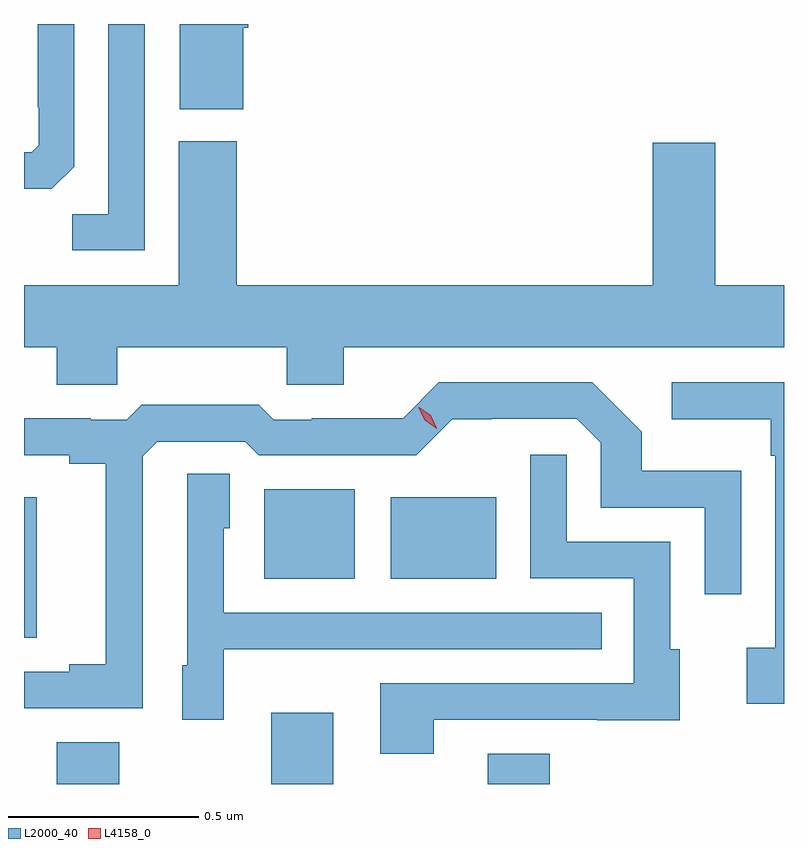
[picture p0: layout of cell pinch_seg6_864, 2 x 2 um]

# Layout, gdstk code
import gdstk
lib = gdstk.Library(unit=1e-6, precision=1e-09)
def R(c, l, rs):  # rectangles x0, y0, x1, y1
    for r in rs: c.add(gdstk.rectangle(r[:2], r[2:], *l))
def P(c, l, *ps):  # polygons
    for p in ps: c.add(gdstk.Polygon(p, *l))
L2000_40 = (2000, 40)
L4158_0 = (4158, 0)

pinch_seg6_864 = lib.new_cell('pinch_seg6_864')
R(pinch_seg6_864, L2000_40, [(139.463,979.487,139.627,979.597), (140.027,979.487,140.191,979.675), (140.597,979.487,140.761,979.567), (139.377,979.872,139.411,980.242), (140.009,980.027,140.248,980.263), (140.342,980.027,140.62,980.242)])
P(pinch_seg6_864, L2000_40, [(139.954,981.477),(139.967,981.477),(139.967,981.487),(139.787,981.487),(139.787,981.263),(139.954,981.263)],
  [(139.695,981.487),(139.599,981.487),(139.599,980.987),(139.504,980.987),(139.504,980.892),(139.695,980.892)],
  [(139.509,981.112),(139.509,981.487),(139.413,981.487),(139.413,981.268),(139.416,981.268),(139.416,981.168),(139.398,981.15),(139.377,981.15),(139.377,981.053),(139.45,981.053)],
  [(139.623,980.636),(140.068,980.636),(140.068,980.538),(140.218,980.538),(140.218,980.636),(141.377,980.636),(141.377,980.8),(141.196,980.8),(141.196,981.175),(141.032,981.175),(141.032,980.8),(139.937,980.8),(139.937,981.178),(139.784,981.178),(139.784,980.8),(139.377,980.8),(139.377,980.636),(139.463,980.636),(139.463,980.538),(139.623,980.538)],
  [(139.689,980.349),(139.728,980.388),(139.959,980.388),(139.995,980.352),(140.409,980.352),(140.504,980.447),(140.608,980.447),(140.608,980.448),(140.832,980.448),(140.895,980.385),(140.895,980.214),(141.168,980.214),(141.168,979.986),(141.264,979.986),(141.264,980.311),(141.003,980.311),(141.003,980.414),(140.872,980.544),(140.469,980.544),(140.375,980.45),(140.134,980.45),(140.134,980.445),(140.034,980.445),(139.995,980.485),(139.687,980.485),(139.647,980.445),(139.553,980.445),(139.553,980.45),(139.377,980.45),(139.377,980.352),(139.496,980.352),(139.496,980.33),(139.592,980.33),(139.592,979.802),(139.496,979.802),(139.496,979.782),(139.377,979.782),(139.377,979.686),(139.689,979.686)],
  [(141.377,980.544),(141.081,980.544),(141.081,980.447),(141.342,980.447),(141.342,980.351),(141.354,980.351),(141.354,979.846),(141.279,979.846),(141.279,979.698),(141.377,979.698)],
  [(140.455,979.656),(140.885,979.656),(140.885,979.655),(141.103,979.655),(141.103,979.842),(141.078,979.842),(141.078,980.124),(140.805,980.124),(140.805,980.353),(140.709,980.353),(140.709,980.028),(140.982,980.028),(140.982,979.752),(140.315,979.752),(140.315,979.566),(140.455,979.566)],
  [(139.902,979.841),(140.219,979.841),(140.219,979.842),(140.897,979.842),(140.897,979.938),(139.902,979.938),(139.902,980.16),(139.918,980.16),(139.918,980.303),(139.806,980.303),(139.806,979.8),(139.793,979.8),(139.793,979.656),(139.902,979.656)])
P(pinch_seg6_864, L4158_0, [(140.463,980.422),(140.432,980.444),(140.416,980.477),(140.416,980.478),(140.417,980.478),(140.448,980.457),(140.463,980.423),(140.463,980.422)])

lib.write_gds('pinch_seg6_864.gds')
